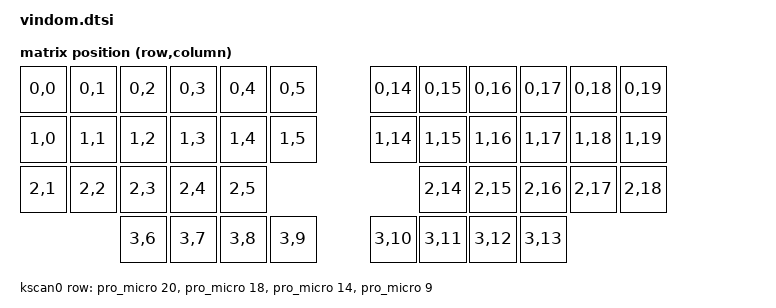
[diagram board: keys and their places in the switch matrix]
/*
 * Copyright (c) 2020 The ZMK Contributors
 *
 * SPDX-License-Identifier: MIT
 */

#include <dt-bindings/zmk/matrix_transform.h>

/ {
    chosen {
        zmk,kscan = &kscan0;
        zmk,matrix-transform = &default_transform;
    };

    default_transform: keymap_transform_0 {
        compatible = "zmk,matrix-transform";
        columns = <20>;
        rows = <4>;
// | SW1  | SW2  | SW3  | SW4  | SW5  | SW6  |                 | SW6  | SW5  | SW4  | SW3  | SW2  | SW1  |
// | SW7  | SW8  | SW9  | SW10 | SW11 | SW12 |                 | SW12 | SW11 | SW10 | SW9  | SW8  | SW7  |
// | SW13 | SW14 | SW15 | SW16 | SW17 | SW18 |                 | SW18 | SW17 | SW16 | SW15 | SW14 | SW13 |
// | SW19 | SW20 | SW21 | SW22 | SW23 | SW24 | SW25 |   | SW25 | SW24 | SW23 | SW22 | SW21 | SW20 | SW19 |
// | SW26 | SW27 | SW28 | SW29 | SW30 | SW31 | SW32 |   | SW32 | SW31 | SW30 | SW29 | SW28 | SW27 | SW26 |
        map = <
RC(0,0) RC(0,1) RC(0,2) RC(0,3) RC(0,4) RC(0,5)                                                                        RC(0,14) RC(0,15) RC(0,16) RC(0,17) RC(0,18) RC(0,19)
RC(1,0) RC(1,1) RC(1,2) RC(1,3) RC(1,4) RC(1,5)                                                                        RC(1,14) RC(1,15) RC(1,16) RC(1,17) RC(1,18) RC(1,19)
        RC(2,1) RC(2,2) RC(2,3) RC(2,4) RC(2,5)                                                                        RC(2,14) RC(2,15) RC(2,16) RC(2,17) RC(2,18) 
                                                RC(3,6) RC(3,7) RC(3,8) RC(3,9)   RC(3,10) RC(3,11) RC(3,12) RC(3,13)
        >;
    };

    kscan0: kscan {
        compatible = "zmk,kscan-gpio-matrix";
        wakeup-source;

        diode-direction = "col2row";
        row-gpios
            = <&pro_micro 20 (GPIO_ACTIVE_HIGH | GPIO_PULL_DOWN)>
            , <&pro_micro 18 (GPIO_ACTIVE_HIGH | GPIO_PULL_DOWN)>
            , <&pro_micro 14 (GPIO_ACTIVE_HIGH | GPIO_PULL_DOWN)>
            , <&pro_micro 9 (GPIO_ACTIVE_HIGH | GPIO_PULL_DOWN)>
            ;

    };
};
